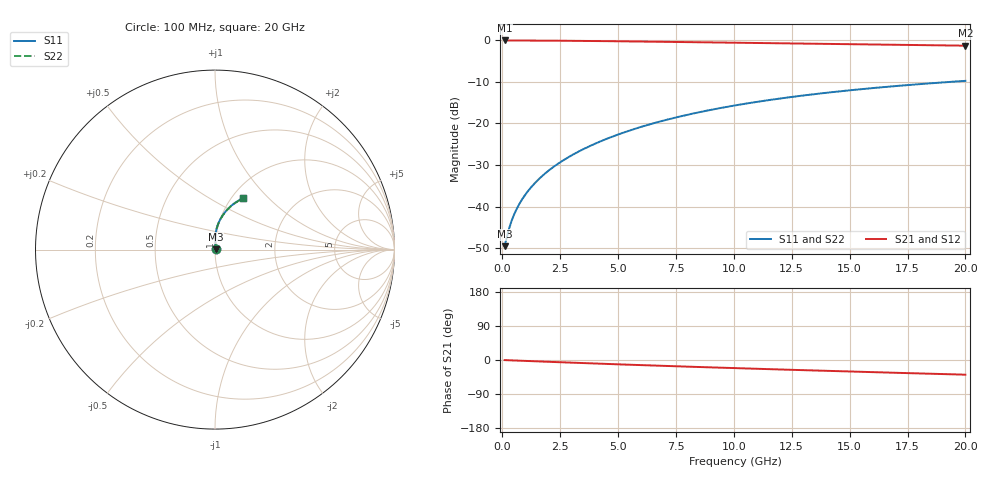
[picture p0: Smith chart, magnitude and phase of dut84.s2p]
! Touchstone file exported from HFSS 2024.1.0
!  File:  C:/UserFiles/LocalFiles/RDL_TSV_Batchsim/temp_RDL_bottom_84_1778694460.aedt
!  Generated:  01:50:42 AM May 14, 2026
!  Design:  RDL_bottom
!  Project:  temp_RDL_bottom_84_1778694460
!  Setup:  Setup1
!  Solution:  Sweep
! Variables:
!  dtsv = 10.80580581um
!  hbump = 3um
!  htsv = 70.3um
!  ldown = 549.51um
!  lrdl = 100um
!  p = 40
!  p1 = 53.6um
!  rhole = 1um
!  t = 450um
!  tdown = 2.63um
!  trdl = 3.915915916um
!  wdown = 28.12um
!  wrdl = 20um
# GHz S MA R 50.000000
! Terminal data exported
! Port[1] = RDL1_T1
! Port[2] = RDL1_T2
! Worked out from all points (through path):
!   200 points, 100 MHz to 20 GHz, reference 50 ohm
!   highest |S21| = -0.03 dB at 100 MHz (marker M1); lowest = -1.3 dB at 20 GHz (marker M2)
!   group delay of S21, straight-line fit = 5.31 ps
!   lowest |S11| = -49.5 dB at 100 MHz (marker M3), VSWR 1.01, Z = 50.3 + j0.156 ohm
!   |S11| at or under -10 dB: start of sweep to 19.34 GHz
!   |S22| runs from -49.5 to -9.8 dB; largest |S21 - S12| = 2.5e-15
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0.1  0.003336 27.6  0.997 -0.3  0.997 -0.3  0.003336 27.6
! Gamma 0 0 0 0
! Port Impedance 50 0 50 0
0.3  0.005497 53.9  0.9966 -0.7  0.9966 -0.7  0.005498 53.9
0.4  0.006699 59.7  0.9964 -1.0  0.9964 -1.0  0.0067 59.7
0.5  0.007899 63.8  0.9962 -1.2  0.9962 -1.2  0.0079 63.8
0.6  0.009097 67.0  0.996 -1.5  0.996 -1.5  0.009099 67.0
0.8  0.01151 71.7  0.9955 -1.9  0.9955 -1.9  0.01151 71.7
1  0.01397 75.1  0.9951 -2.4  0.9951 -2.4  0.01398 75.1
1.2  0.01649 77.7  0.9946 -2.9  0.9946 -2.9  0.01649 77.6
1.7  0.02301 82.0  0.9931 -4.0  0.9931 -4.0  0.02301 81.9
2.2  0.02984 84.6  0.9912 -5.2  0.9912 -5.2  0.02984 84.6
2.8  0.03845 86.6  0.9884 -6.6  0.9884 -6.6  0.03844 86.5
3.5  0.04905 87.8  0.9846 -8.2  0.9846 -8.2  0.04904 87.8
4.2  0.06022 88.3  0.9803 -9.7  0.9803 -9.7  0.06019 88.3
5  0.07359 88.3  0.9749 -11.4  0.9749 -11.4  0.07355 88.2
5.9  0.08925 87.6  0.9684 -13.3  0.9684 -13.3  0.08918 87.5
6.8  0.1054 86.6  0.9617 -15.2  0.9617 -15.2  0.1053 86.4
8.4  0.1346 84.0  0.9495 -18.3  0.9495 -18.3  0.1345 83.8
10.1  0.1657 80.7  0.9365 -21.5  0.9365 -21.5  0.1655 80.6
11.7  0.1944 77.5  0.9244 -24.5  0.9244 -24.5  0.1941 77.4
13.4  0.2239 74.1  0.9116 -27.5  0.9116 -27.5  0.2235 73.9
16.7  0.2774 67.6  0.887 -33.3  0.887 -33.3  0.2769 67.4
20  0.3254 61.4  0.8629 -38.7  0.8629 -38.7  0.3249 61.3
